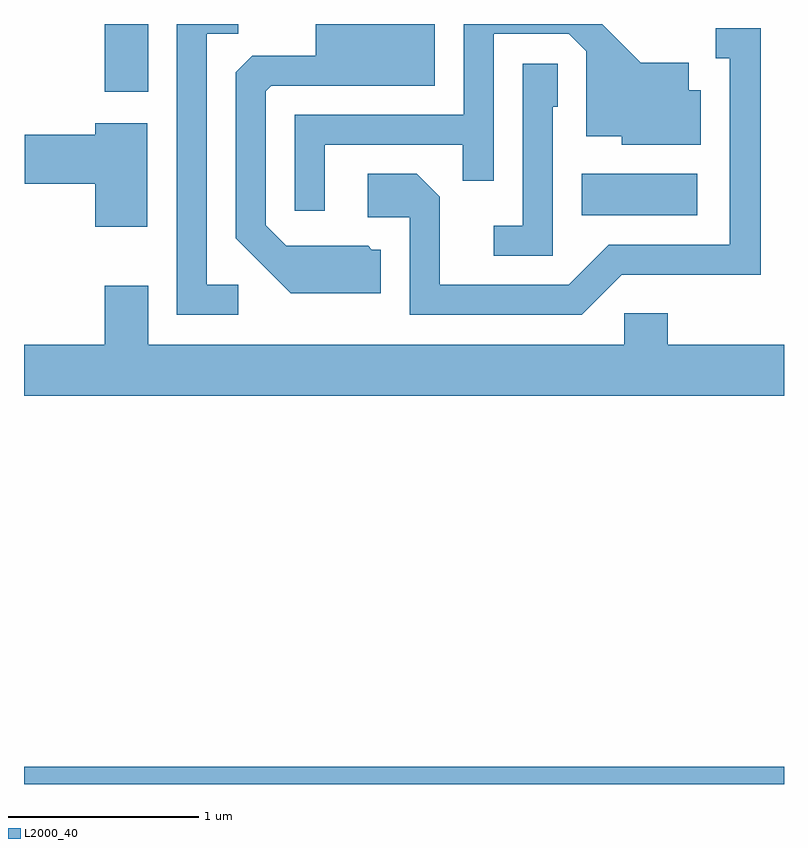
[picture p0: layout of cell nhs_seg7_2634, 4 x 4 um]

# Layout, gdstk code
import gdstk
lib = gdstk.Library(unit=1e-6, precision=1e-09)
def R(c, l, rs):  # rectangles x0, y0, x1, y1
    for r in rs: c.add(gdstk.rectangle(r[:2], r[2:], *l))
def P(c, l, *ps):  # polygons
    for p in ps: c.add(gdstk.Polygon(p, *l))
L2000_40 = (2000, 40)

nhs_seg7_2634 = lib.new_cell('nhs_seg7_2634')
R(nhs_seg7_2634, L2000_40, [(265.611,1732.252,269.611,1732.344), (268.546,1735.246,269.154,1735.464), (266.036,1735.896,266.264,1736.252)])
P(nhs_seg7_2634, L2000_40, [(266.738,1734.879),(266.574,1734.879),(266.574,1736.201),(266.738,1736.201),(266.738,1736.252),(266.416,1736.252),(266.416,1734.721),(266.738,1734.721)],
  [(267.489,1735.064),(267.442,1735.064),(267.422,1735.084),(266.992,1735.084),(266.884,1735.192),(266.884,1735.899),(266.912,1735.926),(267.774,1735.926),(267.774,1736.252),(267.146,1736.252),(267.146,1736.084),(266.812,1736.084),(266.726,1735.999),(266.726,1735.124),(267.014,1734.836),(267.489,1734.836)],
  [(267.194,1735.616),(267.921,1735.616),(267.921,1735.428),(268.084,1735.428),(268.084,1736.201),(268.479,1736.201),(268.571,1736.109),(268.571,1735.661),(268.756,1735.661),(268.756,1735.616),(269.174,1735.616),(269.174,1735.904),(269.109,1735.904),(269.109,1736.049),(268.857,1736.049),(268.654,1736.252),(267.926,1736.252),(267.926,1735.774),(267.036,1735.774),(267.036,1735.268),(267.194,1735.268)],
  [(268.757,1734.931),(269.489,1734.931),(269.489,1736.229),(269.253,1736.229),(269.253,1736.071),(269.326,1736.071),(269.326,1735.089),(268.689,1735.089),(268.479,1734.879),(267.799,1734.879),(267.799,1735.342),(267.677,1735.464),(267.421,1735.464),(267.421,1735.236),(267.641,1735.236),(267.641,1734.721),(268.547,1734.721)],
  [(268.394,1735.816),(268.419,1735.816),(268.419,1736.044),(268.236,1736.044),(268.236,1735.189),(268.083,1735.189),(268.083,1735.031),(268.394,1735.031)],
  [(266.259,1735.729),(265.986,1735.729),(265.986,1735.669),(265.616,1735.669),(265.616,1735.411),(265.986,1735.411),(265.986,1735.186),(266.259,1735.186)],
  [(269.611,1734.564),(268.999,1734.564),(268.999,1734.729),(268.771,1734.729),(268.771,1734.564),(266.264,1734.564),(266.264,1734.874),(266.036,1734.874),(266.036,1734.564),(265.611,1734.564),(265.611,1734.296),(269.611,1734.296)])

lib.write_gds('nhs_seg7_2634.gds')
